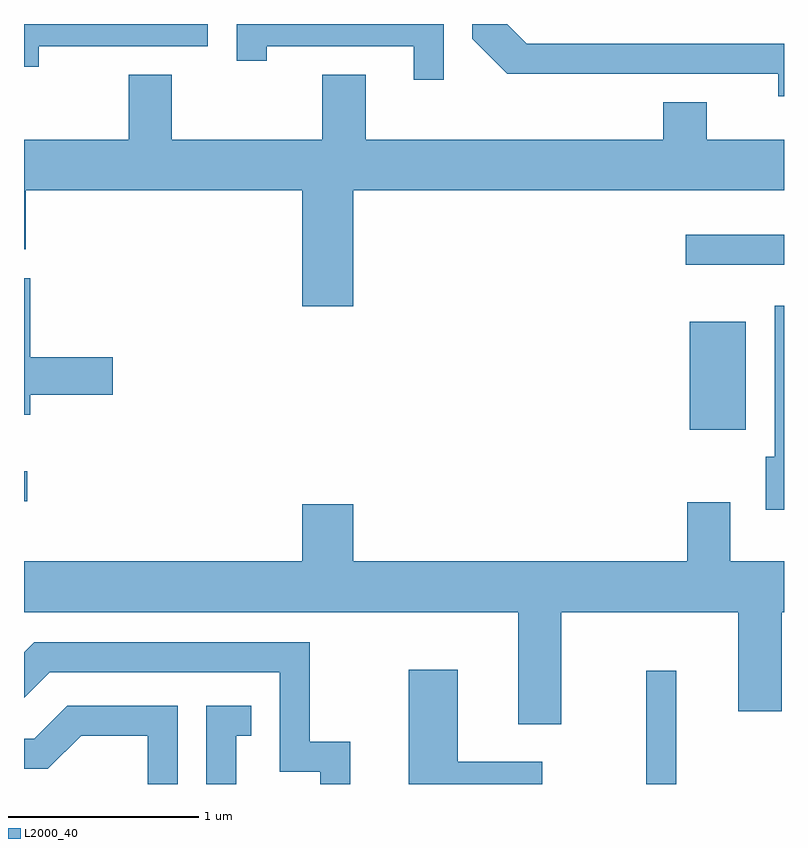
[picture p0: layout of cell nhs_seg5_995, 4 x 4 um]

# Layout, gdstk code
import gdstk
lib = gdstk.Library(unit=1e-6, precision=1e-09)
def R(c, l, rs):  # rectangles x0, y0, x1, y1
    for r in rs: c.add(gdstk.rectangle(r[:2], r[2:], *l))
def P(c, l, *ps):  # polygons
    for p in ps: c.add(gdstk.Polygon(p, *l))
L2000_40 = (2000, 40)

nhs_seg5_995 = lib.new_cell('nhs_seg5_995')
R(nhs_seg5_995, L2000_40, [(216.886,1498.072,217.044,1498.668), (213.611,1499.561,213.628,1499.719), (217.116,1499.936,217.409,1500.504), (217.093,1500.806,217.611,1500.964)])
P(nhs_seg5_995, L2000_40, [(213.689,1501.956),(214.579,1501.956),(214.579,1502.072),(213.611,1502.072),(213.611,1501.846),(213.689,1501.846)],
  [(215.819,1502.072),(214.731,1502.072),(214.731,1501.878),(214.889,1501.878),(214.889,1501.956),(215.661,1501.956),(215.661,1501.778),(215.819,1501.778)],
  [(217.611,1501.969),(216.257,1501.969),(216.154,1502.072),(215.971,1502.072),(215.971,1501.994),(216.154,1501.811),(217.581,1501.811),(217.581,1501.691),(217.611,1501.691)],
  [(215.344,1501.196),(217.611,1501.196),(217.611,1501.464),(217.204,1501.464),(217.204,1501.659),(216.976,1501.659),(216.976,1501.464),(215.409,1501.464),(215.409,1501.804),(215.181,1501.804),(215.181,1501.464),(214.389,1501.464),(214.389,1501.804),(214.161,1501.804),(214.161,1501.464),(213.611,1501.464),(213.611,1500.886),(213.619,1500.886),(213.619,1501.196),(215.076,1501.196),(215.076,1500.586),(215.344,1500.586)],
  [(213.644,1500.121),(214.079,1500.121),(214.079,1500.319),(213.644,1500.319),(213.644,1500.734),(213.611,1500.734),(213.611,1500.016),(213.644,1500.016)],
  [(217.611,1500.589),(217.561,1500.589),(217.561,1499.794),(217.516,1499.794),(217.516,1499.516),(217.611,1499.516)],
  [(216.439,1498.976),(217.371,1498.976),(217.371,1498.456),(217.599,1498.456),(217.599,1498.976),(217.611,1498.976),(217.611,1499.244),(217.329,1499.244),(217.329,1499.554),(217.101,1499.554),(217.101,1499.244),(215.344,1499.244),(215.344,1499.544),(215.076,1499.544),(215.076,1499.244),(213.611,1499.244),(213.611,1498.976),(216.211,1498.976),(216.211,1498.386),(216.439,1498.386)],
  [(215.329,1498.294),(215.114,1498.294),(215.114,1498.819),(213.664,1498.819),(213.611,1498.766),(213.611,1498.525),(213.747,1498.661),(214.956,1498.661),(214.956,1498.136),(215.171,1498.136),(215.171,1498.072),(215.329,1498.072)],
  [(216.338,1498.189),(215.894,1498.189),(215.894,1498.674),(215.636,1498.674),(215.636,1498.072),(216.338,1498.072)],
  [(214.729,1498.326),(214.808,1498.326),(214.808,1498.484),(214.571,1498.484),(214.571,1498.072),(214.729,1498.072)],
  [(214.419,1498.484),(213.839,1498.484),(213.664,1498.309),(213.611,1498.309),(213.611,1498.151),(213.737,1498.151),(213.912,1498.326),(214.261,1498.326),(214.261,1498.072),(214.419,1498.072)])

lib.write_gds('nhs_seg5_995.gds')
